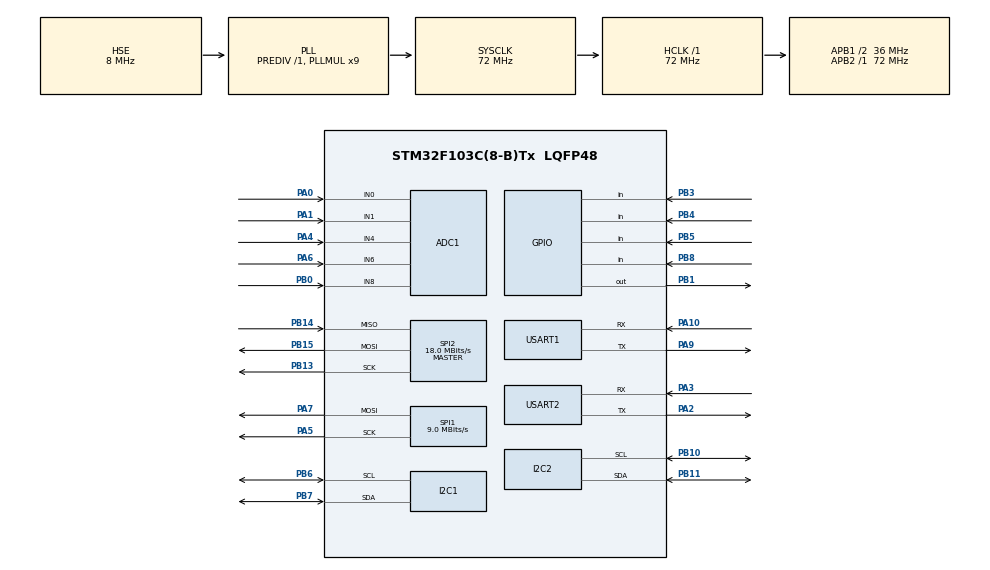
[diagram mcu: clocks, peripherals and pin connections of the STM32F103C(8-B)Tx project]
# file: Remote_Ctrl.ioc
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ADC1.Channel-5\#ChannelRegularConversion=ADC_CHANNEL_0
ADC1.ContinuousConvMode=DISABLE
ADC1.DiscontinuousConvMode=DISABLE
ADC1.EnableRegularConversion=ENABLE
ADC1.NbrOfConversionFlag=1
ADC1.Rank-5\#ChannelRegularConversion=1
ADC1.SamplingTime-5\#ChannelRegularConversion=ADC_SAMPLETIME_1CYCLE_5
ADC1.master=1
Mcu.Family=STM32F1
Mcu.Name=STM32F103C(8-B)Tx
Mcu.Package=LQFP48
NVIC.PriorityGroup=NVIC_PRIORITYGROUP_4
PA0-WKUP.Signal=ADCx_IN0
PA1.Signal=ADCx_IN1
PA10.Mode=Asynchronous
PA10.Signal=USART1_RX
PA13.Mode=Serial_Wire
PA13.Signal=SYS_JTMS-SWDIO
PA14.Mode=Serial_Wire
PA14.Signal=SYS_JTCK-SWCLK
PA2.Mode=Asynchronous
PA2.Signal=USART2_TX
PA3.Mode=Asynchronous
PA3.Signal=USART2_RX
PA4.Signal=ADCx_IN4
PA5.Mode=TX_Only_Simplex_Unidirect_Master
PA5.Signal=SPI1_SCK
PA6.Signal=ADCx_IN6
PA7.Mode=TX_Only_Simplex_Unidirect_Master
PA7.Signal=SPI1_MOSI
PA9.Mode=Asynchronous
PA9.Signal=USART1_TX
PB0.Signal=ADCx_IN8
PB1.Signal=GPIO_Output
PB10.Mode=I2C
PB10.Signal=I2C2_SCL
PB11.Mode=I2C
PB11.Signal=I2C2_SDA
PB13.Mode=Full_Duplex_Master
PB13.Signal=SPI2_SCK
PB14.Mode=Full_Duplex_Master
PB14.Signal=SPI2_MISO
PB15.Mode=Full_Duplex_Master
PB15.Signal=SPI2_MOSI
PB3.Signal=GPIO_Input
PB4.Signal=GPIO_Input
PB5.Signal=GPIO_Input
PB6.Mode=I2C
PB6.Signal=I2C1_SCL
PB7.Mode=I2C
PB7.Signal=I2C1_SDA
PB8.Signal=GPIO_Input
PD0-OSC_IN.Mode=HSE-External-Oscillator
PD0-OSC_IN.Signal=RCC_OSC_IN
PD1-OSC_OUT.Mode=HSE-External-Oscillator
PD1-OSC_OUT.Signal=RCC_OSC_OUT
ProjectManager.HeapSize=0x200
ProjectManager.StackSize=0x400
ProjectManager.TargetToolchain=MDK-ARM V5.32
RCC.ADCPresc=RCC_ADCPCLK2_DIV6
RCC.AHBFreq_Value=72000000
RCC.APB1CLKDivider=RCC_HCLK_DIV2
RCC.APB1Freq_Value=36000000
RCC.APB1TimFreq_Value=72000000
RCC.APB2Freq_Value=72000000
RCC.APB2TimFreq_Value=72000000
RCC.HCLKFreq_Value=72000000
RCC.PLLMUL=RCC_PLL_MUL9
RCC.PLLSourceVirtual=RCC_PLLSOURCE_HSE
RCC.SYSCLKFreq_VALUE=72000000
RCC.SYSCLKSource=RCC_SYSCLKSOURCE_PLLCLK
RCC.USBFreq_Value=72000000
SH.ADCx_IN0.0=ADC1_IN0,IN0
SH.ADCx_IN1.0=ADC1_IN1,IN1
SH.ADCx_IN4.0=ADC1_IN4,IN4
SH.ADCx_IN6.0=ADC1_IN6,IN6
SH.ADCx_IN8.0=ADC1_IN8,IN8
SPI1.BaudRatePrescaler=SPI_BAUDRATEPRESCALER_8
SPI1.CalculateBaudRate=9.0 MBits/s
SPI1.Direction=SPI_DIRECTION_2LINES
SPI1.Mode=SPI_MODE_MASTER
SPI1.VirtualType=VM_MASTER
SPI2.CalculateBaudRate=18.0 MBits/s
SPI2.Direction=SPI_DIRECTION_2LINES
SPI2.Mode=SPI_MODE_MASTER
SPI2.VirtualType=VM_MASTER
USART1.VirtualMode=VM_ASYNC
USART2.VirtualMode=VM_ASYNC
board=custom

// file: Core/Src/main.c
/* USER CODE BEGIN Header */
/**
  ******************************************************************************
  * @file           : main.c
  * @brief          : Main program body
  ******************************************************************************
  * @attention
  *
  * Copyright (c) 2024 STMicroelectronics.
  * All rights reserved.
  *
  * This software is licensed under terms that can be found in the LICENSE file
  * in the root directory of this software component.
  * If no LICENSE file comes with this software, it is provided AS-IS.
  *
  ******************************************************************************
  */
/* USER CODE END Header */
#include "main.h"
#include "adc.h"
#include "i2c.h"
#include "spi.h"
#include "usart.h"
#include "gpio.h"

/* USER CODE BEGIN Includes */
#include "nrf24L01.h"
#include "string.h"
/* USER CODE END Includes */

/* USER CODE BEGIN PV */
uint8_t tmp_buf[33];

typedef struct
{
	uint16_t rocker[4];
	uint8_t button[2];
	uint8_t checksum;

}remote_t;
remote_t remote;

uint8_t CheckSum(uint8_t *Buf, uint8_t Len)
{
  uint8_t i = 0;
  uint8_t sum = 0;
  uint8_t checksum = 0;

  for(i=0; i<Len; i++)
  {
    sum += *Buf++;
  }

  checksum = sum & 0xff;
  return checksum;
}
/* USER CODE END PV */

void SystemClock_Config(void);

/* USER CODE BEGIN 0 */
char stringg[10]="nihao!!";

uint16_t ADC_Read(uint32_t Channel)
{
	ADC_ChannelConfTypeDef sConfig = {0};
	sConfig.Channel = Channel;                                         /* 通道 */
	sConfig.Rank = ADC_REGULAR_RANK_1;
	sConfig.SamplingTime = ADC_SAMPLETIME_55CYCLES_5;                  /* 采样时间 */
	if (HAL_ADC_ConfigChannel(&hadc1, &sConfig) != HAL_OK)
	{
		Error_Handler();
	}
	HAL_ADC_Start(&hadc1);
	HAL_ADC_PollForConversion(&hadc1, HAL_MAX_DELAY);
	return (uint16_t)HAL_ADC_GetValue(&hadc1);
}

/* USER CODE END 0 */

int main(void)
{

  /* MCU Configuration--------------------------------------------------------*/

  /* Reset of all peripherals, Initializes the Flash interface and the Systick. */
  HAL_Init();

  /* Configure the system clock */
  SystemClock_Config();

  /* Initialize all configured peripherals */
  MX_GPIO_Init();
  MX_ADC1_Init();
  MX_I2C1_Init();
  MX_I2C2_Init();
  MX_SPI1_Init();
  MX_SPI2_Init();
  MX_USART1_UART_Init();
  MX_USART2_UART_Init();
  /* USER CODE BEGIN 2 */
	HAL_ADCEx_Calibration_Start(&hadc1);
	NRF24L01_Init();
	NRF24L01_TX_Mode();

  /* USER CODE END 2 */

  /* Infinite loop */
  /* USER CODE BEGIN WHILE */
  while (1)
  {

		static uint8_t i;

		remote.rocker[0]=ADC_Read(ADC_CHANNEL_0);
		remote.rocker[1]=ADC_Read(ADC_CHANNEL_1);
		remote.rocker[2]=ADC_Read(ADC_CHANNEL_4);
		remote.rocker[3]=ADC_Read(ADC_CHANNEL_6);

		if(HAL_GPIO_ReadPin(GPIOB,GPIO_PIN_5)==1) remote.button[0]=1;
			else remote.button[0]=0;
		if(HAL_GPIO_ReadPin(GPIOB,GPIO_PIN_8)==1) remote.button[1]=1;
			else remote.button[1]=0;

		remote.checksum=0x51;
		memcpy(tmp_buf,&remote,sizeof(remote));

		if(NRF24L01_TxPacket(tmp_buf)==TX_OK)
    {
      printf("NRF24L01无线模块数据发送成功：\r\n");
			for(i=0;i<33;i++)
				printf("%u ",tmp_buf[i]);
			printf("\r\n"); //串口打印的数据

    }
    else
    {
      printf("NRF24L01无线模块数据发送失败\r\n");
    }
		HAL_Delay(50);

    /* USER CODE END WHILE */

  }
}

void SystemClock_Config(void)
{
  RCC_OscInitTypeDef RCC_OscInitStruct = {0};
  RCC_ClkInitTypeDef RCC_ClkInitStruct = {0};
  RCC_PeriphCLKInitTypeDef PeriphClkInit = {0};

  /** Initializes the RCC Oscillators according to the specified parameters
  * in the RCC_OscInitTypeDef structure.
  */
  RCC_OscInitStruct.OscillatorType = RCC_OSCILLATORTYPE_HSE;
  RCC_OscInitStruct.HSEState = RCC_HSE_ON;
  RCC_OscInitStruct.HSEPredivValue = RCC_HSE_PREDIV_DIV1;
  RCC_OscInitStruct.HSIState = RCC_HSI_ON;
  RCC_OscInitStruct.PLL.PLLState = RCC_PLL_ON;
  RCC_OscInitStruct.PLL.PLLSource = RCC_PLLSOURCE_HSE;
  RCC_OscInitStruct.PLL.PLLMUL = RCC_PLL_MUL9;
  if (HAL_RCC_OscConfig(&RCC_OscInitStruct) != HAL_OK)
  {
    Error_Handler();
  }

  /** Initializes the CPU, AHB and APB buses clocks
  */
  RCC_ClkInitStruct.ClockType = RCC_CLOCKTYPE_HCLK|RCC_CLOCKTYPE_SYSCLK
                              |RCC_CLOCKTYPE_PCLK1|RCC_CLOCKTYPE_PCLK2;
  RCC_ClkInitStruct.SYSCLKSource = RCC_SYSCLKSOURCE_PLLCLK;
  RCC_ClkInitStruct.AHBCLKDivider = RCC_SYSCLK_DIV1;
  RCC_ClkInitStruct.APB1CLKDivider = RCC_HCLK_DIV2;
  RCC_ClkInitStruct.APB2CLKDivider = RCC_HCLK_DIV1;

  if (HAL_RCC_ClockConfig(&RCC_ClkInitStruct, FLASH_LATENCY_2) != HAL_OK)
  {
    Error_Handler();
  }
  PeriphClkInit.PeriphClockSelection = RCC_PERIPHCLK_ADC;
  PeriphClkInit.AdcClockSelection = RCC_ADCPCLK2_DIV6;
  if (HAL_RCCEx_PeriphCLKConfig(&PeriphClkInit) != HAL_OK)
  {
    Error_Handler();
  }
}

void Error_Handler(void)
{
  __disable_irq();
  while (1)
  {
  }
}
